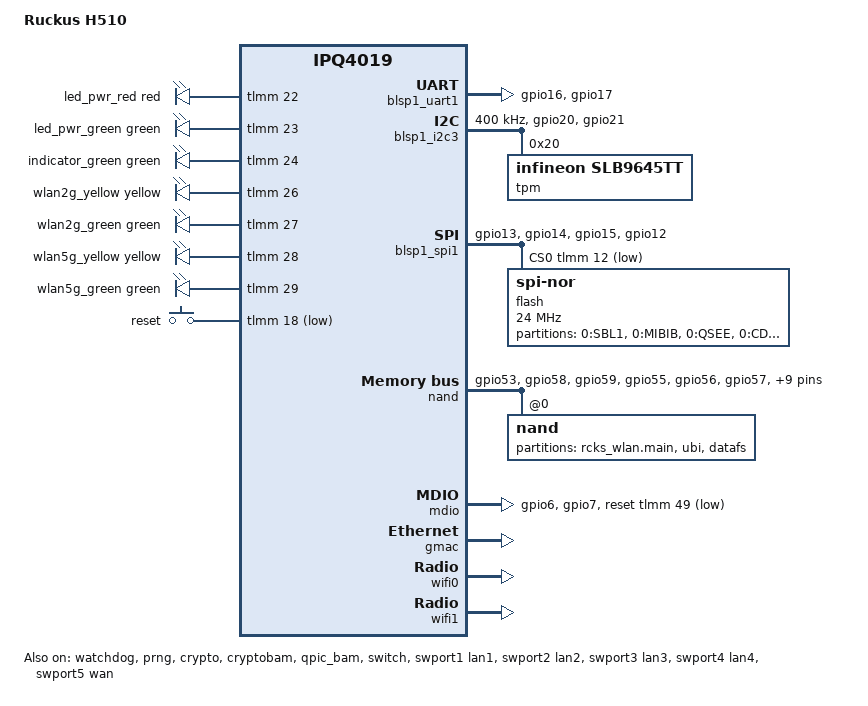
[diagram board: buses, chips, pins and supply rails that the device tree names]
// SPDX-License-Identifier: GPL-2.0-or-later OR MIT
/*
 * Ruckus H510 — in-wall 802.11ac AP, IPQ4019 (Dakota AP-DK04.1-C1).
 */

#include "qcom-ipq4019.dtsi"
#include <dt-bindings/gpio/gpio.h>
#include <dt-bindings/input/input.h>
#include <dt-bindings/leds/common.h>
#include <dt-bindings/soc/qcom,tcsr.h>

/ {
	model = "Ruckus H510";
	compatible = "ruckus,h510", "qcom,ipq4019";

	chosen {
		stdout-path = "serial0:115200n8";
	};

	aliases {
		serial0 = &blsp1_uart1;
		ethernet0 = &gmac;
		label-mac-device = &gmac;
		led-boot = &led_pwr_red;
		led-failsafe = &led_pwr_red;
		led-running = &led_pwr_green;
		led-upgrade = &led_pwr_red;
	};

	reserved-memory {
		#address-cells = <1>;
		#size-cells = <1>;
		ranges;

		/* Reserved by the stock bootloader for OEM warm-boot handoff. */
		ruckus-himem@87100000 {
			reg = <0x87100000 0x00200000>;
			no-map;
		};
	};

	soc {
		counter@4a1000 {
			compatible = "qcom,qca-gcnt";
			reg = <0x4a1000 0x4>;
		};

		ess_tcsr@1953000 {
			compatible = "qcom,tcsr";
			reg = <0x1953000 0x1000>;
			qcom,ess-interface-select = <TCSR_ESS_PSGMII>;
		};

		tcsr@1949000 {
			compatible = "qcom,tcsr";
			reg = <0x1949000 0x100>;
			qcom,wifi_glb_cfg = <TCSR_WIFI_GLB_CFG>;
		};

		tcsr@194b000 {
			compatible = "qcom,tcsr";
			reg = <0x194b000 0x100>;
			qcom,usb-hsphy-mode-select = <TCSR_USB_HSPHY_HOST_MODE>;
		};

		tcsr@1957000 {
			compatible = "qcom,tcsr";
			reg = <0x1957000 0x100>;
			qcom,wifi_noc_memtype_m0_m2 = <TCSR_WIFI_NOC_MEMTYPE_M0_M2>;
		};
	};

	leds {
		compatible = "gpio-leds";

		led_pwr_red: power_red {
			function = LED_FUNCTION_POWER;
			color = <LED_COLOR_ID_RED>;
			gpios = <&tlmm 22 GPIO_ACTIVE_HIGH>;
		};

		led_pwr_green: power_green {
			function = LED_FUNCTION_POWER;
			color = <LED_COLOR_ID_GREEN>;
			gpios = <&tlmm 23 GPIO_ACTIVE_HIGH>;
		};

		indicator_green {
			function = LED_FUNCTION_INDICATOR;
			color = <LED_COLOR_ID_GREEN>;
			gpios = <&tlmm 24 GPIO_ACTIVE_HIGH>;
		};

		/* GPIO 25 is unpopulated on the H510 (used on sibling models). */

		wlan2g_yellow {
			function = LED_FUNCTION_WLAN_2GHZ;
			color = <LED_COLOR_ID_YELLOW>;
			gpios = <&tlmm 26 GPIO_ACTIVE_HIGH>;
		};

		wlan2g_green {
			function = LED_FUNCTION_WLAN_2GHZ;
			color = <LED_COLOR_ID_GREEN>;
			gpios = <&tlmm 27 GPIO_ACTIVE_HIGH>;
		};

		wlan5g_yellow {
			function = LED_FUNCTION_WLAN_5GHZ;
			color = <LED_COLOR_ID_YELLOW>;
			gpios = <&tlmm 28 GPIO_ACTIVE_HIGH>;
		};

		wlan5g_green {
			function = LED_FUNCTION_WLAN_5GHZ;
			color = <LED_COLOR_ID_GREEN>;
			gpios = <&tlmm 29 GPIO_ACTIVE_HIGH>;
		};
	};

	keys {
		compatible = "gpio-keys";

		reset {
			label = "reset";
			gpios = <&tlmm 18 GPIO_ACTIVE_LOW>;
			linux,code = <KEY_RESTART>;
		};
	};
};

&watchdog {
	status = "okay";
};

&prng {
	status = "okay";
};

&crypto {
	status = "okay";
};

&blsp_dma {
	status = "okay";
};

&cryptobam {
	status = "okay";
};

&blsp1_uart1 {
	status = "okay";

	pinctrl-0 = <&serial_0_pins>;
	pinctrl-names = "default";
};

&tlmm {
	serial_0_pins: serial_pinmux {
		pins = "gpio16", "gpio17";
		function = "blsp_uart0";
		bias-disable;
	};

	spi_0_pins: spi_0_pinmux {
		pin {
			function = "blsp_spi0";
			pins = "gpio13", "gpio14", "gpio15";
			drive-strength = <12>;
			bias-disable;
		};
		pin_cs {
			function = "gpio";
			pins = "gpio12";
			drive-strength = <2>;
			bias-disable;
			output-high;
		};
	};

	i2c_0_pins: i2c_0_pinmux {
		pins = "gpio20", "gpio21";
		function = "blsp_i2c0";
		drive-strength = <4>;
		bias-pull-up;
	};

	mdio_pins: mdio_pinmux {
		mdio {
			pins = "gpio6";
			function = "mdio";
			bias-pull-up;
		};
		mdc {
			pins = "gpio7";
			function = "mdc";
			bias-pull-up;
		};
	};

	nand_pins: nand_pins {
		pullups {
			pins = "gpio53", "gpio58", "gpio59";
			function = "qpic";
			bias-pull-up;
		};
		pulldowns {
			pins = "gpio55", "gpio56", "gpio57",
				"gpio60", "gpio62", "gpio63",
				"gpio64", "gpio65", "gpio66",
				"gpio67", "gpio68", "gpio69";
			function = "qpic";
			bias-pull-down;
		};
	};
};

&blsp1_i2c3 {
	status = "okay";

	pinctrl-0 = <&i2c_0_pins>;
	pinctrl-names = "default";

	clock-frequency = <400000>;

	tpm@20 {
		compatible = "infineon,slb9645tt";
		reg = <0x20>;
	};
};

&blsp1_spi1 {
	status = "okay";

	pinctrl-0 = <&spi_0_pins>;
	pinctrl-names = "default";

	cs-gpios = <&tlmm 12 GPIO_ACTIVE_LOW>;

	flash@0 {
		compatible = "jedec,spi-nor";
		reg = <0>;
		spi-max-frequency = <24000000>;

		partitions {
			compatible = "fixed-partitions";
			#address-cells = <1>;
			#size-cells = <1>;

			partition@0 {
				label = "0:SBL1";
				reg = <0x000000 0x040000>;
				read-only;
			};

			partition@40000 {
				label = "0:MIBIB";
				reg = <0x040000 0x020000>;
				read-only;
			};

			partition@60000 {
				label = "0:QSEE";
				reg = <0x060000 0x060000>;
				read-only;
			};

			partition@c0000 {
				label = "0:CDT";
				reg = <0x0c0000 0x010000>;
				read-only;
			};

			partition@d0000 {
				label = "0:DDRPARAMS";
				reg = <0x0d0000 0x010000>;
				read-only;
			};

			partition@e0000 {
				label = "0:APPSBLENV";
				reg = <0x0e0000 0x010000>;
			};

			partition@f0000 {
				label = "0:APPSBL";
				reg = <0x0f0000 0x080000>;
				read-only;
			};

			partition@170000 {
				label = "0:ART";
				reg = <0x170000 0x010000>;
				read-only;
			};

			partition@180000 {
				label = "Board Data";
				reg = <0x180000 0x010000>;
				read-only;

				nvmem-layout {
					compatible = "fixed-layout";
					#address-cells = <1>;
					#size-cells = <1>;

					macaddr_bdata_807e: macaddr@807e {
						reg = <0x807e 0x6>;
					};

					macaddr_bdata_8058: macaddr@8058 {
						compatible = "mac-base";
						reg = <0x8058 0x6>;
						#nvmem-cell-cells = <1>;
					};
				};
			};

			partition@190000 {
				label = "RINF";
				reg = <0x190000 0x010000>;
				read-only;
			};
		};
	};
};

&nand {
	status = "okay";

	pinctrl-0 = <&nand_pins>;
	pinctrl-names = "default";

	nand@0 {
		partitions {
			compatible = "fixed-partitions";
			#address-cells = <1>;
			#size-cells = <1>;

			/*
			 * NAND is split into two firmware slots and a config
			 * partition. Slot 1 holds the stock Ruckus firmware
			 * UBI (kernel + rootfs); OpenWrt installs to slot 2
			 * and a custom U-Boot bootcmd selects between them
			 * via the `slot` env var, giving a one-command
			 * rollback. Slot 1 is read-only to keep that
			 * rollback target out of reach of userspace mtd
			 * writes. `datafs` is the stock Ruckus config UBIFS,
			 * untouched by OpenWrt.
			 */
			partition@0 {
				label = "rcks_wlan.main";
				reg = <0x0000000 0x3000000>;
				read-only;
			};

			partition@3000000 {
				label = "ubi";
				reg = <0x3000000 0x3000000>;
			};

			partition@6000000 {
				label = "datafs";
				reg = <0x6000000 0x2000000>;
				read-only;
			};
		};
	};
};

&qpic_bam {
	status = "okay";
};

&mdio {
	status = "okay";

	pinctrl-0 = <&mdio_pins>;
	pinctrl-names = "default";

	reset-gpios = <&tlmm 49 GPIO_ACTIVE_LOW>;
	reset-delay-us = <2000>;
};

&gmac {
	status = "okay";

	nvmem-cell-names = "mac-address";
	nvmem-cells = <&macaddr_bdata_807e>;
};

&switch {
	status = "okay";
};

&swport1 {
	status = "okay";

	label = "lan1";
};

&swport2 {
	status = "okay";

	label = "lan2";
};

&swport3 {
	status = "okay";

	label = "lan3";
};

&swport4 {
	status = "okay";

	label = "lan4";
};

&swport5 {
	status = "okay";

	label = "wan";

	/* Same nvmem cell as &gmac: the WAN port is the only external
	 * Ethernet interface on this AP and shares the sticker MAC.
	 */
	nvmem-cell-names = "mac-address";
	nvmem-cells = <&macaddr_bdata_807e>;
};

/*
 * Two distinct calibration-variant strings (not one shared like other
 * IPQ4019 boards) because the H510's QCA4019 BMI returns all-zero
 * chip-id/board-id — Ruckus's stock v54 driver supplies calibration
 * via a side channel that bypasses BMI. With BMI invalid, ath10k's
 * board-2.bin lookup tuple is identical for both radios; the per-
 * radio "-2g"/"-5g" suffix is the only way to give them distinct
 * keys so each gets its own calibration entry.
 */
&wifi0 {
	status = "okay";

	nvmem-cell-names = "mac-address";
	nvmem-cells = <&macaddr_bdata_8058 0>;
	qcom,ath10k-calibration-variant = "Ruckus-H510-2g";
};

&wifi1 {
	status = "okay";

	nvmem-cell-names = "mac-address";
	nvmem-cells = <&macaddr_bdata_8058 1>;
	qcom,ath10k-calibration-variant = "Ruckus-H510-5g";
};
